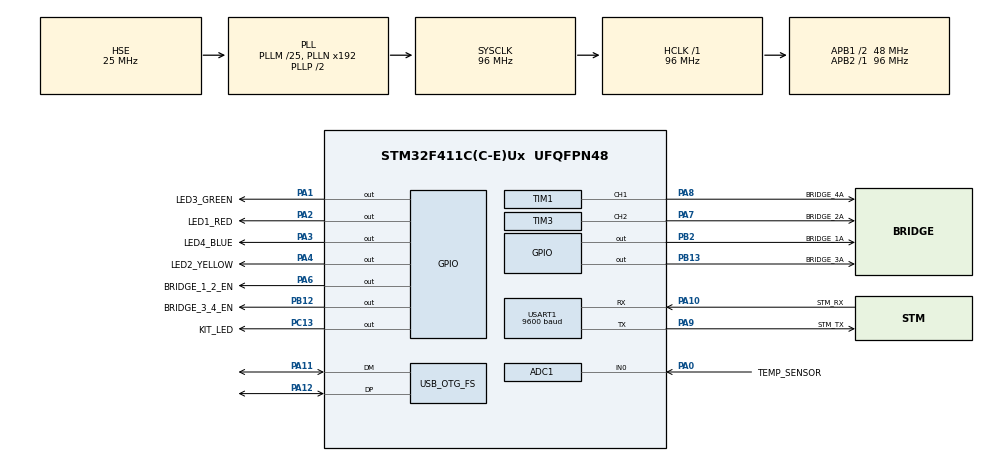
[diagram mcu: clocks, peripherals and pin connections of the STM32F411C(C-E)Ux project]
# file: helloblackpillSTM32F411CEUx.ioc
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ADC1.Channel-1\#ChannelRegularConversion=ADC_CHANNEL_0
ADC1.NbrOfConversionFlag=1
ADC1.Rank-1\#ChannelRegularConversion=1
ADC1.SamplingTime-1\#ChannelRegularConversion=ADC_SAMPLETIME_3CYCLES
ADC1.master=1
Dma.Request0=USART1_RX
Dma.Request1=USART1_TX
Dma.USART1_RX.0.Direction=DMA_PERIPH_TO_MEMORY
Dma.USART1_RX.0.FIFOMode=DMA_FIFOMODE_DISABLE
Dma.USART1_RX.0.Instance=DMA2_Stream2
Dma.USART1_RX.0.MemDataAlignment=DMA_MDATAALIGN_BYTE
Dma.USART1_RX.0.MemInc=DMA_MINC_ENABLE
Dma.USART1_RX.0.Mode=DMA_NORMAL
Dma.USART1_RX.0.PeriphDataAlignment=DMA_PDATAALIGN_BYTE
Dma.USART1_RX.0.PeriphInc=DMA_PINC_DISABLE
Dma.USART1_RX.0.Priority=DMA_PRIORITY_LOW
Dma.USART1_TX.1.Direction=DMA_MEMORY_TO_PERIPH
Dma.USART1_TX.1.FIFOMode=DMA_FIFOMODE_DISABLE
Dma.USART1_TX.1.Instance=DMA2_Stream7
Dma.USART1_TX.1.MemDataAlignment=DMA_MDATAALIGN_BYTE
Dma.USART1_TX.1.MemInc=DMA_MINC_ENABLE
Dma.USART1_TX.1.Mode=DMA_NORMAL
Dma.USART1_TX.1.PeriphDataAlignment=DMA_PDATAALIGN_BYTE
Dma.USART1_TX.1.PeriphInc=DMA_PINC_DISABLE
Dma.USART1_TX.1.Priority=DMA_PRIORITY_LOW
FREERTOS.BinarySemaphores01=ATCommandSemaphore,Static,ATCommandSemaphoreControlBlock;ATResponseSemaphore,Static,ATResponseSemaphoreControlBlock;UARTTXSemaphore,Static,UARTTXSemaphoreControlBlock;RadioStateSemaphore,Static,RadioStateSemaphoreControlBlock;LoRaTXSemaphore,Static,LoRaTXSemaphoreControlBlock
FREERTOS.Events01=ModemStatusFlags,Static,ModemStatusFlagsControlBlock
FREERTOS.Queues01=uartQueue,4,void*,0,Static,uartQueueBuffer,uartQueueControlBlock;ATQueue,4,void*,0,Static,ATQueueBuffer,ATQueueControlBlock;ModemSendQueue,4,void*,0,Static,ModemSendQueueBuffer,ModemSendQueueControlBlock
FREERTOS.Tasks01=defaultTask,9,128,StartDefaultTask,Default,NULL,Static,defaultTaskBuffer,defaultTaskControlBlock;ATParsingTask,39,512,ATParsingTaskCode,As external,NULL,Static,ATParsingTaskBuffer,ATParsingTaskControlBlock;ATHandlingTask,38,512,ATHandlingTaskCode,As external,NULL,Static,ATHandlingTaskBuffer,ATHandlingTaskControlBlock;UARTProcTask,47,512,UARTProcTaskCode,As external,NULL,Static,UARTProcTaskBuffer,UARTProcTaskControlBlock;ModemMngrTask,31,512,ModemManagerTaskCode,As external,NULL,Static,ModemMngrTaskBuffer,ModemMngrTaskControlBlock;AppSendTask,15,512,AppSendTaskCode,As external,NULL,Static,SendTemperatureBuffer,SendTemperatureControlBlock;BlueLedTask,24,128,BlueLedTaskCode,As external,NULL,Static,BlueLedTaskBuffer,BlueLedTaskControlBlock;RedLedTask,9,128,RedLedTaskCode,As external,NULL,Static,RedLedTaskBuffer,RedLedTaskControlBlock;YellowLedTask,37,128,YellowLedTaskCode,As external,NULL,Static,YellowLedTaskBuffer,YellowLedTaskControlBlock;GreenLedTask,24,128,GreenLedTaskCode,As external,NULL,Static,GreenLedTaskBuffer,GreenLedTaskControlBlock
FREERTOS.Timers01=PeriodicSendTimer,PeriodicSendTimerCallback,osTimerPeriodic,As external,NULL,Static,PeriodicSendTimerControlBlock;ModemLedTimer,ModemLedCallback,osTimerPeriodic,As external,NULL,Static,ModemLedTimerControlBlock;DutyCycleTimer,DutyCycleTimerCallback,osTimerOnce,As external,NULL,Static,DutyCycleTimerControlBlock
FREERTOS.configENABLE_FPU=1
FREERTOS.configTOTAL_HEAP_SIZE=2048
FREERTOS.configUSE_TICKLESS_IDLE=1
Mcu.Family=STM32F4
Mcu.Name=STM32F411C(C-E)Ux
Mcu.Package=UFQFPN48
NVIC.DMA2_Stream2_IRQn=true\:5\:0\:false\:false\:true\:true\:false\:true\:true
NVIC.DMA2_Stream7_IRQn=true\:5\:0\:false\:false\:true\:true\:false\:true\:true
NVIC.OTG_FS_IRQn=true\:5\:0\:false\:false\:true\:true\:false\:true\:true
NVIC.PriorityGroup=NVIC_PRIORITYGROUP_4
NVIC.TIM1_TRG_COM_TIM11_IRQn=true\:5\:0\:false\:false\:true\:false\:false\:true\:true
NVIC.TimeBase=TIM1_TRG_COM_TIM11_IRQn
NVIC.TimeBaseIP=TIM11
NVIC.USART1_IRQn=true\:5\:0\:false\:false\:true\:true\:true\:true\:true
PA0-WKUP.GPIO_Label=TEMP_SENSOR
PA0-WKUP.Signal=ADCx_IN0
PA1.GPIO_Label=LED3_GREEN
PA1.Signal=GPIO_Output
PA10.GPIO_Label=STM_RX
PA10.Mode=Asynchronous
PA10.Signal=USART1_RX
PA11.Mode=Device_Only
PA11.Signal=USB_OTG_FS_DM
PA12.Mode=Device_Only
PA12.Signal=USB_OTG_FS_DP
PA13.Mode=Serial_Wire
PA13.Signal=SYS_JTMS-SWDIO
PA14.Mode=Serial_Wire
PA14.Signal=SYS_JTCK-SWCLK
PA2.GPIO_Label=LED1_RED
PA2.Signal=GPIO_Output
PA3.GPIO_Label=LED4_BLUE
PA3.Signal=GPIO_Output
PA4.GPIO_Label=LED2_YELLOW
PA4.Signal=GPIO_Output
PA6.GPIO_Label=BRIDGE_1_2_EN
PA6.PinState=GPIO_PIN_SET
PA6.Signal=GPIO_Output
PA7.GPIO_Label=BRIDGE_2A
PA7.Signal=S_TIM3_CH2
PA8.GPIO_Label=BRIDGE_4A
PA8.Signal=S_TIM1_CH1
PA9.GPIO_Label=STM_TX
PA9.Mode=Asynchronous
PA9.Signal=USART1_TX
PB12.GPIO_Label=BRIDGE_3_4_EN
PB12.PinState=GPIO_PIN_SET
PB12.Signal=GPIO_Output
PB13.GPIO_Label=BRIDGE_3A
PB13.Signal=GPIO_Output
PB2.GPIO_Label=BRIDGE_1A
PB2.Signal=GPIO_Output
PC13-ANTI_TAMP.GPIO_Label=KIT_LED
PC13-ANTI_TAMP.Signal=GPIO_Output
PC14-OSC32_IN.Mode=LSE-External-Oscillator
PC14-OSC32_IN.Signal=RCC_OSC32_IN
PC15-OSC32_OUT.Mode=LSE-External-Oscillator
PC15-OSC32_OUT.Signal=RCC_OSC32_OUT
PH0\ -\ OSC_IN.Mode=HSE-External-Oscillator
PH0\ -\ OSC_IN.Signal=RCC_OSC_IN
PH1\ -\ OSC_OUT.Mode=HSE-External-Oscillator
PH1\ -\ OSC_OUT.Signal=RCC_OSC_OUT
ProjectManager.HeapSize=0x200
ProjectManager.StackSize=0x400
ProjectManager.TargetToolchain=Makefile
RCC.48MHZClocksFreq_Value=48000000
RCC.AHBFreq_Value=96000000
RCC.APB1CLKDivider=RCC_HCLK_DIV2
RCC.APB1Freq_Value=48000000
RCC.APB1TimFreq_Value=96000000
RCC.APB2Freq_Value=96000000
RCC.APB2TimFreq_Value=96000000
RCC.CortexFreq_Value=96000000
RCC.HCLKFreq_Value=96000000
RCC.HSE_VALUE=25000000
RCC.HSI_VALUE=16000000
RCC.PLLM=25
RCC.SYSCLKFreq_VALUE=96000000
RCC.SYSCLKSource=RCC_SYSCLKSOURCE_PLLCLK
RCC.VCOOutputFreq_Value=192000000
SH.ADCx_IN0.0=ADC1_IN0,IN0
SH.S_TIM1_CH1.0=TIM1_CH1,PWM Generation1 CH1
SH.S_TIM3_CH2.0=TIM3_CH2,PWM Generation2 CH2
TIM1.Channel-PWM\ Generation1\ CH1=TIM_CHANNEL_1
TIM1.Period=9600-1
TIM1.Pulse-PWM\ Generation1\ CH1=9600-1
TIM2.Prescaler=9600-1
TIM3.Channel-PWM\ Generation2\ CH2=TIM_CHANNEL_2
TIM3.Period=9600-1
TIM3.Pulse-PWM\ Generation2\ CH2=9600-1
USART1.BaudRate=9600
USART1.VirtualMode=VM_ASYNC
USB_DEVICE.CLASS_NAME_FS=CDC
USB_DEVICE.VirtualMode=Cdc
USB_DEVICE.VirtualModeFS=Cdc_FS
USB_OTG_FS.VirtualMode=Device_Only
VP_FREERTOS_VS_CMSIS_V2.Mode=CMSIS_V2
VP_SYS_VS_tim11.Mode=TIM11
VP_TIM1_VS_ClockSourceINT.Mode=Internal
VP_TIM2_VS_ClockSourceINT.Mode=Internal
VP_TIM3_VS_ClockSourceINT.Mode=Internal
VP_USB_DEVICE_VS_USB_DEVICE_CDC_FS.Mode=CDC_FS
board=custom

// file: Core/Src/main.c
/* USER CODE BEGIN Header */
/**
  ******************************************************************************
  * @file           : main.c
  * @brief          : Main program body
  ******************************************************************************
  * @attention
  *
  * Copyright (c) 2022 STMicroelectronics.
  * All rights reserved.
  *
  * This software is licensed under terms that can be found in the LICENSE file
  * in the root directory of this software component.
  * If no LICENSE file comes with this software, it is provided AS-IS.
  *
  ******************************************************************************
  */
/* USER CODE END Header */
#include "main.h"
#include "cmsis_os.h"
#include "usb_device.h"

/* USER CODE BEGIN Includes */
/* ------> COMENTÁRIO DE TESTE ROGER <------- */
/* USER CODE END Includes */

typedef StaticTask_t osStaticThreadDef_t;
typedef StaticQueue_t osStaticMessageQDef_t;
typedef StaticTimer_t osStaticTimerDef_t;
typedef StaticSemaphore_t osStaticSemaphoreDef_t;
typedef StaticEventGroup_t osStaticEventGroupDef_t;

ADC_HandleTypeDef hadc1;

TIM_HandleTypeDef htim1;
TIM_HandleTypeDef htim2;
TIM_HandleTypeDef htim3;

UART_HandleTypeDef huart1;
DMA_HandleTypeDef hdma_usart1_rx;
DMA_HandleTypeDef hdma_usart1_tx;

/* Definitions for defaultTask */
osThreadId_t defaultTaskHandle;
uint32_t defaultTaskBuffer[ 128 ];
osStaticThreadDef_t defaultTaskControlBlock;
const osThreadAttr_t defaultTask_attributes = {
  .name = "defaultTask",
  .cb_mem = &defaultTaskControlBlock,
  .cb_size = sizeof(defaultTaskControlBlock),
  .stack_mem = &defaultTaskBuffer[0],
  .stack_size = sizeof(defaultTaskBuffer),
  .priority = (osPriority_t) osPriorityLow1,
};
/* Definitions for ATParsingTask */
osThreadId_t ATParsingTaskHandle;
uint32_t ATParsingTaskBuffer[ 512 ];
osStaticThreadDef_t ATParsingTaskControlBlock;
const osThreadAttr_t ATParsingTask_attributes = {
  .name = "ATParsingTask",
  .cb_mem = &ATParsingTaskControlBlock,
  .cb_size = sizeof(ATParsingTaskControlBlock),
  .stack_mem = &ATParsingTaskBuffer[0],
  .stack_size = sizeof(ATParsingTaskBuffer),
  .priority = (osPriority_t) osPriorityAboveNormal7,
};
/* Definitions for ATHandlingTask */
osThreadId_t ATHandlingTaskHandle;
uint32_t ATHandlingTaskBuffer[ 512 ];
osStaticThreadDef_t ATHandlingTaskControlBlock;
const osThreadAttr_t ATHandlingTask_attributes = {
  .name = "ATHandlingTask",
  .cb_mem = &ATHandlingTaskControlBlock,
  .cb_size = sizeof(ATHandlingTaskControlBlock),
  .stack_mem = &ATHandlingTaskBuffer[0],
  .stack_size = sizeof(ATHandlingTaskBuffer),
  .priority = (osPriority_t) osPriorityAboveNormal6,
};
/* Definitions for UARTProcTask */
osThreadId_t UARTProcTaskHandle;
uint32_t UARTProcTaskBuffer[ 512 ];
osStaticThreadDef_t UARTProcTaskControlBlock;
const osThreadAttr_t UARTProcTask_attributes = {
  .name = "UARTProcTask",
  .cb_mem = &UARTProcTaskControlBlock,
  .cb_size = sizeof(UARTProcTaskControlBlock),
  .stack_mem = &UARTProcTaskBuffer[0],
  .stack_size = sizeof(UARTProcTaskBuffer),
  .priority = (osPriority_t) osPriorityHigh7,
};
/* Definitions for ModemMngrTask */
osThreadId_t ModemMngrTaskHandle;
uint32_t ModemMngrTaskBuffer[ 512 ];
osStaticThreadDef_t ModemMngrTaskControlBlock;
const osThreadAttr_t ModemMngrTask_attributes = {
  .name = "ModemMngrTask",
  .cb_mem = &ModemMngrTaskControlBlock,
  .cb_size = sizeof(ModemMngrTaskControlBlock),
  .stack_mem = &ModemMngrTaskBuffer[0],
  .stack_size = sizeof(ModemMngrTaskBuffer),
  .priority = (osPriority_t) osPriorityNormal7,
};
/* Definitions for AppSendTask */
osThreadId_t AppSendTaskHandle;
uint32_t SendTemperatureBuffer[ 512 ];
osStaticThreadDef_t SendTemperatureControlBlock;
const osThreadAttr_t AppSendTask_attributes = {
  .name = "AppSendTask",
  .cb_mem = &SendTemperatureControlBlock,
  .cb_size = sizeof(SendTemperatureControlBlock),
  .stack_mem = &SendTemperatureBuffer[0],
  .stack_size = sizeof(SendTemperatureBuffer),
  .priority = (osPriority_t) osPriorityLow7,
};
/* Definitions for BlueLedTask */
osThreadId_t BlueLedTaskHandle;
uint32_t BlueLedTaskBuffer[ 128 ];
osStaticThreadDef_t BlueLedTaskControlBlock;
const osThreadAttr_t BlueLedTask_attributes = {
  .name = "BlueLedTask",
  .cb_mem = &BlueLedTaskControlBlock,
  .cb_size = sizeof(BlueLedTaskControlBlock),
  .stack_mem = &BlueLedTaskBuffer[0],
  .stack_size = sizeof(BlueLedTaskBuffer),
  .priority = (osPriority_t) osPriorityNormal,
};
/* Definitions for RedLedTask */
osThreadId_t RedLedTaskHandle;
uint32_t RedLedTaskBuffer[ 128 ];
osStaticThreadDef_t RedLedTaskControlBlock;
const osThreadAttr_t RedLedTask_attributes = {
  .name = "RedLedTask",
  .cb_mem = &RedLedTaskControlBlock,
  .cb_size = sizeof(RedLedTaskControlBlock),
  .stack_mem = &RedLedTaskBuffer[0],
  .stack_size = sizeof(RedLedTaskBuffer),
  .priority = (osPriority_t) osPriorityLow1,
};
/* Definitions for YellowLedTask */
osThreadId_t YellowLedTaskHandle;
uint32_t YellowLedTaskBuffer[ 128 ];
osStaticThreadDef_t YellowLedTaskControlBlock;
const osThreadAttr_t YellowLedTask_attributes = {
  .name = "YellowLedTask",
  .cb_mem = &YellowLedTaskControlBlock,
  .cb_size = sizeof(YellowLedTaskControlBlock),
  .stack_mem = &YellowLedTaskBuffer[0],
  .stack_size = sizeof(YellowLedTaskBuffer),
  .priority = (osPriority_t) osPriorityAboveNormal5,
};
/* Definitions for GreenLedTask */
osThreadId_t GreenLedTaskHandle;
uint32_t GreenLedTaskBuffer[ 128 ];
osStaticThreadDef_t GreenLedTaskControlBlock;
const osThreadAttr_t GreenLedTask_attributes = {
  .name = "GreenLedTask",
  .cb_mem = &GreenLedTaskControlBlock,
  .cb_size = sizeof(GreenLedTaskControlBlock),
  .stack_mem = &GreenLedTaskBuffer[0],
  .stack_size = sizeof(GreenLedTaskBuffer),
  .priority = (osPriority_t) osPriorityNormal,
};
/* Definitions for uartQueue */
osMessageQueueId_t uartQueueHandle;
uint8_t uartQueueBuffer[ 4 * sizeof( void* ) ];
osStaticMessageQDef_t uartQueueControlBlock;
const osMessageQueueAttr_t uartQueue_attributes = {
  .name = "uartQueue",
  .cb_mem = &uartQueueControlBlock,
  .cb_size = sizeof(uartQueueControlBlock),
  .mq_mem = &uartQueueBuffer,
  .mq_size = sizeof(uartQueueBuffer)
};
/* Definitions for ATQueue */
osMessageQueueId_t ATQueueHandle;
uint8_t ATQueueBuffer[ 4 * sizeof( void* ) ];
osStaticMessageQDef_t ATQueueControlBlock;
const osMessageQueueAttr_t ATQueue_attributes = {
  .name = "ATQueue",
  .cb_mem = &ATQueueControlBlock,
  .cb_size = sizeof(ATQueueControlBlock),
  .mq_mem = &ATQueueBuffer,
  .mq_size = sizeof(ATQueueBuffer)
};
/* Definitions for ModemSendQueue */
osMessageQueueId_t ModemSendQueueHandle;
uint8_t ModemSendQueueBuffer[ 4 * sizeof( void* ) ];
osStaticMessageQDef_t ModemSendQueueControlBlock;
const osMessageQueueAttr_t ModemSendQueue_attributes = {
  .name = "ModemSendQueue",
  .cb_mem = &ModemSendQueueControlBlock,
  .cb_size = sizeof(ModemSendQueueControlBlock),
  .mq_mem = &ModemSendQueueBuffer,
  .mq_size = sizeof(ModemSendQueueBuffer)
};
/* Definitions for PeriodicSendTimer */
osTimerId_t PeriodicSendTimerHandle;
osStaticTimerDef_t PeriodicSendTimerControlBlock;
const osTimerAttr_t PeriodicSendTimer_attributes = {
  .name = "PeriodicSendTimer",
  .cb_mem = &PeriodicSendTimerControlBlock,
  .cb_size = sizeof(PeriodicSendTimerControlBlock),
};
/* Definitions for ModemLedTimer */
osTimerId_t ModemLedTimerHandle;
osStaticTimerDef_t ModemLedTimerControlBlock;
const osTimerAttr_t ModemLedTimer_attributes = {
  .name = "ModemLedTimer",
  .cb_mem = &ModemLedTimerControlBlock,
  .cb_size = sizeof(ModemLedTimerControlBlock),
};
/* Definitions for DutyCycleTimer */
osTimerId_t DutyCycleTimerHandle;
osStaticTimerDef_t DutyCycleTimerControlBlock;
const osTimerAttr_t DutyCycleTimer_attributes = {
  .name = "DutyCycleTimer",
  .cb_mem = &DutyCycleTimerControlBlock,
  .cb_size = sizeof(DutyCycleTimerControlBlock),
};
/* Definitions for ATCommandSemaphore */
osSemaphoreId_t ATCommandSemaphoreHandle;
osStaticSemaphoreDef_t ATCommandSemaphoreControlBlock;
const osSemaphoreAttr_t ATCommandSemaphore_attributes = {
  .name = "ATCommandSemaphore",
  .cb_mem = &ATCommandSemaphoreControlBlock,
  .cb_size = sizeof(ATCommandSemaphoreControlBlock),
};
/* Definitions for ATResponseSemaphore */
osSemaphoreId_t ATResponseSemaphoreHandle;
osStaticSemaphoreDef_t ATResponseSemaphoreControlBlock;
const osSemaphoreAttr_t ATResponseSemaphore_attributes = {
  .name = "ATResponseSemaphore",
  .cb_mem = &ATResponseSemaphoreControlBlock,
  .cb_size = sizeof(ATResponseSemaphoreControlBlock),
};
/* Definitions for UARTTXSemaphore */
osSemaphoreId_t UARTTXSemaphoreHandle;
osStaticSemaphoreDef_t UARTTXSemaphoreControlBlock;
const osSemaphoreAttr_t UARTTXSemaphore_attributes = {
  .name = "UARTTXSemaphore",
  .cb_mem = &UARTTXSemaphoreControlBlock,
  .cb_size = sizeof(UARTTXSemaphoreControlBlock),
};
/* Definitions for RadioStateSemaphore */
osSemaphoreId_t RadioStateSemaphoreHandle;
osStaticSemaphoreDef_t RadioStateSemaphoreControlBlock;
const osSemaphoreAttr_t RadioStateSemaphore_attributes = {
  .name = "RadioStateSemaphore",
  .cb_mem = &RadioStateSemaphoreControlBlock,
  .cb_size = sizeof(RadioStateSemaphoreControlBlock),
};
/* Definitions for LoRaTXSemaphore */
osSemaphoreId_t LoRaTXSemaphoreHandle;
osStaticSemaphoreDef_t LoRaTXSemaphoreControlBlock;
const osSemaphoreAttr_t LoRaTXSemaphore_attributes = {
  .name = "LoRaTXSemaphore",
  .cb_mem = &LoRaTXSemaphoreControlBlock,
  .cb_size = sizeof(LoRaTXSemaphoreControlBlock),
};
/* Definitions for ModemStatusFlags */
osEventFlagsId_t ModemStatusFlagsHandle;
osStaticEventGroupDef_t ModemStatusFlagsControlBlock;
const osEventFlagsAttr_t ModemStatusFlags_attributes = {
  .name = "ModemStatusFlags",
  .cb_mem = &ModemStatusFlagsControlBlock,
  .cb_size = sizeof(ModemStatusFlagsControlBlock),
};
/* USER CODE BEGIN PV */
volatile float vector[255];
extern UART_HandleTypeDef huart1;
extern DMA_HandleTypeDef hdma_usart1_rx;
extern DMA_HandleTypeDef hdma_usart1_tx;
/* USER CODE END PV */

void SystemClock_Config(void);
static void MX_GPIO_Init(void);
static void MX_DMA_Init(void);
static void MX_USART1_UART_Init(void);
static void MX_ADC1_Init(void);
static void MX_TIM2_Init(void);
static void MX_TIM1_Init(void);
static void MX_TIM3_Init(void);
void StartDefaultTask(void *argument);
extern void ATParsingTaskCode(void *argument);
extern void ATHandlingTaskCode(void *argument);
extern void UARTProcTaskCode(void *argument);
extern void ModemManagerTaskCode(void *argument);
extern void AppSendTaskCode(void *argument);
extern void BlueLedTaskCode(void *argument);
extern void RedLedTaskCode(void *argument);
extern void YellowLedTaskCode(void *argument);
extern void GreenLedTaskCode(void *argument);
extern void PeriodicSendTimerCallback(void *argument);
extern void ModemLedCallback(void *argument);
extern void DutyCycleTimerCallback(void *argument);

/* USER CODE BEGIN PFP */
void CONFIGURE_TIMER_FOR_RUN_TIME_STATS()
{
  HAL_TIM_Base_Start(&htim2); /* Define this to initialize your timer/counter */
}

uint32_t GET_RUN_TIME_COUNTER_VALUE()
{
  return __HAL_TIM_GET_COUNTER(&htim2); /* Define this to sample the timer/counter */
}

/* USER CODE END PFP */

/* USER CODE BEGIN 0 */
const volatile int uxTopUsedPriority = configMAX_PRIORITIES - 1; //this declaration enables thread awareness for FreeRTOS using OpenOCD

// Paste this code to Core/Inc/FreeRTOSConfig.h to enable kernel statistics (will be overwritten by STMCubeMX everytime code is generated)
// #define portCONFIGURE_TIMER_FOR_RUN_TIME_STATS() CONFIGURE_TIMER_FOR_RUN_TIME_STATS()/* Define this to initialize your timer/counter */
// #define portGET_RUN_TIME_COUNTER_VALUE() GET_RUN_TIME_COUNTER_VALUE()        /* Define this to sample the timer/counter */
// #define configGENERATE_RUN_TIME_STATS (1)
// #define configRECORD_STACK_HIGH_ADDRESS (1)

/* USER CODE END 0 */

int main(void)
{
  /* USER CODE BEGIN 1 */
  uint32_t i;
  (void)uxTopUsedPriority; //this declaration enables thread awareness for FreeRTOS using OpenOCD
  /* USER CODE END 1 */

  /* MCU Configuration--------------------------------------------------------*/

  /* Reset of all peripherals, Initializes the Flash interface and the Systick. */
  HAL_Init();

  /* Configure the system clock */
  SystemClock_Config();

  /* Initialize all configured peripherals */
  MX_GPIO_Init();
  MX_DMA_Init();
  MX_USART1_UART_Init();
  MX_ADC1_Init();
  MX_TIM2_Init();
  MX_TIM1_Init();
  MX_TIM3_Init();
  /* USER CODE BEGIN 2 */

  //H-Bridge PWMs
  HAL_TIM_PWM_Start(&htim1, TIM_CHANNEL_1);
  HAL_TIM_PWM_Start(&htim3, TIM_CHANNEL_2);
  /* USER CODE END 2 */

  /* Init scheduler */
  osKernelInitialize();

  /* Create the semaphores(s) */
  /* creation of ATCommandSemaphore */
  ATCommandSemaphoreHandle = osSemaphoreNew(1, 0, &ATCommandSemaphore_attributes);

  /* creation of ATResponseSemaphore */
  ATResponseSemaphoreHandle = osSemaphoreNew(1, 0, &ATResponseSemaphore_attributes);

  /* creation of UARTTXSemaphore */
  UARTTXSemaphoreHandle = osSemaphoreNew(1, 0, &UARTTXSemaphore_attributes);

  /* creation of RadioStateSemaphore */
  RadioStateSemaphoreHandle = osSemaphoreNew(1, 0, &RadioStateSemaphore_attributes);

  /* creation of LoRaTXSemaphore */
  LoRaTXSemaphoreHandle = osSemaphoreNew(1, 0, &LoRaTXSemaphore_attributes);

  /* Create the timer(s) */
  /* creation of PeriodicSendTimer */
  PeriodicSendTimerHandle = osTimerNew(PeriodicSendTimerCallback, osTimerPeriodic, NULL, &PeriodicSendTimer_attributes);

  /* creation of ModemLedTimer */
  ModemLedTimerHandle = osTimerNew(ModemLedCallback, osTimerPeriodic, NULL, &ModemLedTimer_attributes);

  /* creation of DutyCycleTimer */
  DutyCycleTimerHandle = osTimerNew(DutyCycleTimerCallback, osTimerOnce, NULL, &DutyCycleTimer_attributes);

  /* Create the queue(s) */
  /* creation of uartQueue */
  uartQueueHandle = osMessageQueueNew (4, sizeof(void*), &uartQueue_attributes);

  /* creation of ATQueue */
  ATQueueHandle = osMessageQueueNew (4, sizeof(void*), &ATQueue_attributes);

  /* creation of ModemSendQueue */
  ModemSendQueueHandle = osMessageQueueNew (4, sizeof(void*), &ModemSendQueue_attributes);

  /* Create the thread(s) */
  /* creation of defaultTask */
  defaultTaskHandle = osThreadNew(StartDefaultTask, NULL, &defaultTask_attributes);

  /* creation of ATParsingTask */
  ATParsingTaskHandle = osThreadNew(ATParsingTaskCode, NULL, &ATParsingTask_attributes);

  /* creation of ATHandlingTask */
  ATHandlingTaskHandle = osThreadNew(ATHandlingTaskCode, NULL, &ATHandlingTask_attributes);

  /* creation of UARTProcTask */
  UARTProcTaskHandle = osThreadNew(UARTProcTaskCode, NULL, &UARTProcTask_attributes);

  /* creation of ModemMngrTask */
  ModemMngrTaskHandle = osThreadNew(ModemManagerTaskCode, NULL, &ModemMngrTask_attributes);

  /* creation of AppSendTask */
  AppSendTaskHandle = osThreadNew(AppSendTaskCode, NULL, &AppSendTask_attributes);

  /* creation of BlueLedTask */
  BlueLedTaskHandle = osThreadNew(BlueLedTaskCode, NULL, &BlueLedTask_attributes);

  /* creation of RedLedTask */
  RedLedTaskHandle = osThreadNew(RedLedTaskCode, NULL, &RedLedTask_attributes);

  /* creation of YellowLedTask */
  YellowLedTaskHandle = osThreadNew(YellowLedTaskCode, NULL, &YellowLedTask_attributes);

  /* creation of GreenLedTask */
  GreenLedTaskHandle = osThreadNew(GreenLedTaskCode, NULL, &GreenLedTask_attributes);

  /* Create the event(s) */
  /* creation of ModemStatusFlags */
  ModemStatusFlagsHandle = osEventFlagsNew(&ModemStatusFlags_attributes);

  /* Start scheduler */
  osKernelStart();

  /* We should never get here as control is now taken by the scheduler */
  /* Infinite loop */
  /* USER CODE BEGIN WHILE */
  while (1)
  {
    for (i = 0; i < 8; i++)
    {
      HAL_GPIO_WritePin(GPIOC, GPIO_PIN_13, 0);
      HAL_Delay(25);
      HAL_GPIO_WritePin(GPIOC, GPIO_PIN_13, 1);
      HAL_Delay(50);
    }
    HAL_Delay(800);

    /* USER CODE END WHILE */

  }
}

void SystemClock_Config(void)
{
  RCC_OscInitTypeDef RCC_OscInitStruct = {0};
  RCC_ClkInitTypeDef RCC_ClkInitStruct = {0};

  /** Configure the main internal regulator output voltage
  */
  __HAL_RCC_PWR_CLK_ENABLE();
  __HAL_PWR_VOLTAGESCALING_CONFIG(PWR_REGULATOR_VOLTAGE_SCALE1);

  /** Initializes the RCC Oscillators according to the specified parameters
  * in the RCC_OscInitTypeDef structure.
  */
  RCC_OscInitStruct.OscillatorType = RCC_OSCILLATORTYPE_HSE;
  RCC_OscInitStruct.HSEState = RCC_HSE_ON;
  RCC_OscInitStruct.PLL.PLLState = RCC_PLL_ON;
  RCC_OscInitStruct.PLL.PLLSource = RCC_PLLSOURCE_HSE;
  RCC_OscInitStruct.PLL.PLLM = 25;
  RCC_OscInitStruct.PLL.PLLN = 192;
  RCC_OscInitStruct.PLL.PLLP = RCC_PLLP_DIV2;
  RCC_OscInitStruct.PLL.PLLQ = 4;
  if (HAL_RCC_OscConfig(&RCC_OscInitStruct) != HAL_OK)
  {
    Error_Handler();
  }

  /** Initializes the CPU, AHB and APB buses clocks
  */
  RCC_ClkInitStruct.ClockType = RCC_CLOCKTYPE_HCLK|RCC_CLOCKTYPE_SYSCLK
                              |RCC_CLOCKTYPE_PCLK1|RCC_CLOCKTYPE_PCLK2;
  RCC_ClkInitStruct.SYSCLKSource = RCC_SYSCLKSOURCE_PLLCLK;
  RCC_ClkInitStruct.AHBCLKDivider = RCC_SYSCLK_DIV1;
  RCC_ClkInitStruct.APB1CLKDivider = RCC_HCLK_DIV2;
  RCC_ClkInitStruct.APB2CLKDivider = RCC_HCLK_DIV1;

  if (HAL_RCC_ClockConfig(&RCC_ClkInitStruct, FLASH_LATENCY_3) != HAL_OK)
  {
    Error_Handler();
  }
}

static void MX_ADC1_Init(void)
{

  ADC_ChannelConfTypeDef sConfig = {0};

  /** Configure the global features of the ADC (Clock, Resolution, Data Alignment and number of conversion)
  */
  hadc1.Instance = ADC1;
  hadc1.Init.ClockPrescaler = ADC_CLOCK_SYNC_PCLK_DIV4;
  hadc1.Init.Resolution = ADC_RESOLUTION_12B;
  hadc1.Init.ScanConvMode = DISABLE;
  hadc1.Init.ContinuousConvMode = DISABLE;
  hadc1.Init.DiscontinuousConvMode = DISABLE;
  hadc1.Init.ExternalTrigConvEdge = ADC_EXTERNALTRIGCONVEDGE_NONE;
  hadc1.Init.ExternalTrigConv = ADC_SOFTWARE_START;
  hadc1.Init.DataAlign = ADC_DATAALIGN_RIGHT;
  hadc1.Init.NbrOfConversion = 1;
  hadc1.Init.DMAContinuousRequests = DISABLE;
  hadc1.Init.EOCSelection = ADC_EOC_SINGLE_CONV;
  if (HAL_ADC_Init(&hadc1) != HAL_OK)
  {
    Error_Handler();
  }

  /** Configure for the selected ADC regular channel its corresponding rank in the sequencer and its sample time.
  */
  sConfig.Channel = ADC_CHANNEL_0;
  sConfig.Rank = 1;
  sConfig.SamplingTime = ADC_SAMPLETIME_3CYCLES;
  if (HAL_ADC_ConfigChannel(&hadc1, &sConfig) != HAL_OK)
  {
    Error_Handler();
  }

}

static void MX_TIM1_Init(void)
{

  TIM_ClockConfigTypeDef sClockSourceConfig = {0};
  TIM_MasterConfigTypeDef sMasterConfig = {0};
  TIM_OC_InitTypeDef sConfigOC = {0};
  TIM_BreakDeadTimeConfigTypeDef sBreakDeadTimeConfig = {0};

  htim1.Instance = TIM1;
  htim1.Init.Prescaler = 0;
  htim1.Init.CounterMode = TIM_COUNTERMODE_UP;
  htim1.Init.Period = 9600-1;
  htim1.Init.ClockDivision = TIM_CLOCKDIVISION_DIV1;
  htim1.Init.RepetitionCounter = 0;
  htim1.Init.AutoReloadPreload = TIM_AUTORELOAD_PRELOAD_DISABLE;
  if (HAL_TIM_Base_Init(&htim1) != HAL_OK)
  {
    Error_Handler();
  }
  sClockSourceConfig.ClockSource = TIM_CLOCKSOURCE_INTERNAL;
  if (HAL_TIM_ConfigClockSource(&htim1, &sClockSourceConfig) != HAL_OK)
  {
    Error_Handler();
  }
  if (HAL_TIM_PWM_Init(&htim1) != HAL_OK)
  {
    Error_Handler();
  }
  sMasterConfig.MasterOutputTrigger = TIM_TRGO_RESET;
  sMasterConfig.MasterSlaveMode = TIM_MASTERSLAVEMODE_DISABLE;
  if (HAL_TIMEx_MasterConfigSynchronization(&htim1, &sMasterConfig) != HAL_OK)
  {
    Error_Handler();
  }
  sConfigOC.OCMode = TIM_OCMODE_PWM1;
  sConfigOC.Pulse = 9600-1;
  sConfigOC.OCPolarity = TIM_OCPOLARITY_HIGH;
  sConfigOC.OCNPolarity = TIM_OCNPOLARITY_HIGH;
  sConfigOC.OCFastMode = TIM_OCFAST_DISABLE;
  sConfigOC.OCIdleState = TIM_OCIDLESTATE_RESET;
  sConfigOC.OCNIdleState = TIM_OCNIDLESTATE_RESET;
  if (HAL_TIM_PWM_ConfigChannel(&htim1, &sConfigOC, TIM_CHANNEL_1) != HAL_OK)
  {
    Error_Handler();
  }
  sBreakDeadTimeConfig.OffStateRunMode = TIM_OSSR_DISABLE;
  sBreakDeadTimeConfig.OffStateIDLEMode = TIM_OSSI_DISABLE;
  sBreakDeadTimeConfig.LockLevel = TIM_LOCKLEVEL_OFF;
  sBreakDeadTimeConfig.DeadTime = 0;
  sBreakDeadTimeConfig.BreakState = TIM_BREAK_DISABLE;
  sBreakDeadTimeConfig.BreakPolarity = TIM_BREAKPOLARITY_HIGH;
  sBreakDeadTimeConfig.AutomaticOutput = TIM_AUTOMATICOUTPUT_DISABLE;
  if (HAL_TIMEx_ConfigBreakDeadTime(&htim1, &sBreakDeadTimeConfig) != HAL_OK)
  {
    Error_Handler();
  }
  HAL_TIM_MspPostInit(&htim1);

}

static void MX_TIM2_Init(void)
{

  TIM_ClockConfigTypeDef sClockSourceConfig = {0};
  TIM_MasterConfigTypeDef sMasterConfig = {0};

  htim2.Instance = TIM2;
  htim2.Init.Prescaler = 9600-1;
  htim2.Init.CounterMode = TIM_COUNTERMODE_UP;
  htim2.Init.Period = 4294967295;
  htim2.Init.ClockDivision = TIM_CLOCKDIVISION_DIV1;
  htim2.Init.AutoReloadPreload = TIM_AUTORELOAD_PRELOAD_DISABLE;
  if (HAL_TIM_Base_Init(&htim2) != HAL_OK)
  {
    Error_Handler();
  }
  sClockSourceConfig.ClockSource = TIM_CLOCKSOURCE_INTERNAL;
  if (HAL_TIM_ConfigClockSource(&htim2, &sClockSourceConfig) != HAL_OK)
  {
    Error_Handler();
  }
  sMasterConfig.MasterOutputTrigger = TIM_TRGO_RESET;
  sMasterConfig.MasterSlaveMode = TIM_MASTERSLAVEMODE_DISABLE;
  if (HAL_TIMEx_MasterConfigSynchronization(&htim2, &sMasterConfig) != HAL_OK)
  {
    Error_Handler();
  }

}

static void MX_TIM3_Init(void)
{

  TIM_ClockConfigTypeDef sClockSourceConfig = {0};
  TIM_MasterConfigTypeDef sMasterConfig = {0};
  TIM_OC_InitTypeDef sConfigOC = {0};

  htim3.Instance = TIM3;
  htim3.Init.Prescaler = 0;
  htim3.Init.CounterMode = TIM_COUNTERMODE_UP;
  htim3.Init.Period = 9600-1;
  htim3.Init.ClockDivision = TIM_CLOCKDIVISION_DIV1;
  htim3.Init.AutoReloadPreload = TIM_AUTORELOAD_PRELOAD_DISABLE;
  if (HAL_TIM_Base_Init(&htim3) != HAL_OK)
  {
    Error_Handler();
  }
  sClockSourceConfig.ClockSource = TIM_CLOCKSOURCE_INTERNAL;
  if (HAL_TIM_ConfigClockSource(&htim3, &sClockSourceConfig) != HAL_OK)
  {
    Error_Handler();
  }
  if (HAL_TIM_PWM_Init(&htim3) != HAL_OK)
  {
    Error_Handler();
  }
  sMasterConfig.MasterOutputTrigger = TIM_TRGO_RESET;
  sMasterConfig.MasterSlaveMode = TIM_MASTERSLAVEMODE_DISABLE;
  if (HAL_TIMEx_MasterConfigSynchronization(&htim3, &sMasterConfig) != HAL_OK)
  {
    Error_Handler();
  }
  sConfigOC.OCMode = TIM_OCMODE_PWM1;
  sConfigOC.Pulse = 9600-1;
  sConfigOC.OCPolarity = TIM_OCPOLARITY_HIGH;
  sConfigOC.OCFastMode = TIM_OCFAST_DISABLE;
  if (HAL_TIM_PWM_ConfigChannel(&htim3, &sConfigOC, TIM_CHANNEL_2) != HAL_OK)
  {
    Error_Handler();
  }
  HAL_TIM_MspPostInit(&htim3);

}

static void MX_USART1_UART_Init(void)
{

  huart1.Instance = USART1;
  huart1.Init.BaudRate = 9600;
  huart1.Init.WordLength = UART_WORDLENGTH_8B;
  huart1.Init.StopBits = UART_STOPBITS_1;
  huart1.Init.Parity = UART_PARITY_NONE;
  huart1.Init.Mode = UART_MODE_TX_RX;
  huart1.Init.HwFlowCtl = UART_HWCONTROL_NONE;
  huart1.Init.OverSampling = UART_OVERSAMPLING_16;
  if (HAL_UART_Init(&huart1) != HAL_OK)
  {
    Error_Handler();
  }

}

static void MX_DMA_Init(void)
{

  /* DMA controller clock enable */
  __HAL_RCC_DMA2_CLK_ENABLE();

  /* DMA interrupt init */
  /* DMA2_Stream2_IRQn interrupt configuration */
  HAL_NVIC_SetPriority(DMA2_Stream2_IRQn, 5, 0);
  HAL_NVIC_EnableIRQ(DMA2_Stream2_IRQn);
  /* DMA2_Stream7_IRQn interrupt configuration */
  HAL_NVIC_SetPriority(DMA2_Stream7_IRQn, 5, 0);
  HAL_NVIC_EnableIRQ(DMA2_Stream7_IRQn);

}

static void MX_GPIO_Init(void)
{
  GPIO_InitTypeDef GPIO_InitStruct = {0};

  /* GPIO Ports Clock Enable */
  __HAL_RCC_GPIOC_CLK_ENABLE();
  __HAL_RCC_GPIOH_CLK_ENABLE();
  __HAL_RCC_GPIOA_CLK_ENABLE();
  __HAL_RCC_GPIOB_CLK_ENABLE();

  /*Configure GPIO pin Output Level */
  HAL_GPIO_WritePin(KIT_LED_GPIO_Port, KIT_LED_Pin, GPIO_PIN_RESET);

  /*Configure GPIO pin Output Level */
  HAL_GPIO_WritePin(GPIOA, LED3_GREEN_Pin|LED1_RED_Pin|LED4_BLUE_Pin|LED2_YELLOW_Pin, GPIO_PIN_RESET);

  /*Configure GPIO pin Output Level */
  HAL_GPIO_WritePin(BRIDGE_1_2_EN_GPIO_Port, BRIDGE_1_2_EN_Pin, GPIO_PIN_SET);

  /*Configure GPIO pin Output Level */
  HAL_GPIO_WritePin(GPIOB, BRIDGE_1A_Pin|BRIDGE_3A_Pin, GPIO_PIN_RESET);

  /*Configure GPIO pin Output Level */
  HAL_GPIO_WritePin(BRIDGE_3_4_EN_GPIO_Port, BRIDGE_3_4_EN_Pin, GPIO_PIN_SET);

  /*Configure GPIO pin : KIT_LED_Pin */
  GPIO_InitStruct.Pin = KIT_LED_Pin;
  GPIO_InitStruct.Mode = GPIO_MODE_OUTPUT_PP;
  GPIO_InitStruct.Pull = GPIO_NOPULL;
  GPIO_InitStruct.Speed = GPIO_SPEED_FREQ_LOW;
  HAL_GPIO_Init(KIT_LED_GPIO_Port, &GPIO_InitStruct);

  /*Configure GPIO pins : LED3_GREEN_Pin LED1_RED_Pin LED4_BLUE_Pin LED2_YELLOW_Pin
                           BRIDGE_1_2_EN_Pin */
  GPIO_InitStruct.Pin = LED3_GREEN_Pin|LED1_RED_Pin|LED4_BLUE_Pin|LED2_YELLOW_Pin
                          |BRIDGE_1_2_EN_Pin;
  GPIO_InitStruct.Mode = GPIO_MODE_OUTPUT_PP;
  GPIO_InitStruct.Pull = GPIO_NOPULL;
  GPIO_InitStruct.Speed = GPIO_SPEED_FREQ_LOW;
  HAL_GPIO_Init(GPIOA, &GPIO_InitStruct);

  /*Configure GPIO pins : BRIDGE_1A_Pin BRIDGE_3_4_EN_Pin BRIDGE_3A_Pin */
  GPIO_InitStruct.Pin = BRIDGE_1A_Pin|BRIDGE_3_4_EN_Pin|BRIDGE_3A_Pin;
  GPIO_InitStruct.Mode = GPIO_MODE_OUTPUT_PP;
  GPIO_InitStruct.Pull = GPIO_NOPULL;
  GPIO_InitStruct.Speed = GPIO_SPEED_FREQ_LOW;
  HAL_GPIO_Init(GPIOB, &GPIO_InitStruct);

}

void StartDefaultTask(void *argument)
{
  /* init code for USB_DEVICE */
  MX_USB_DEVICE_Init();
  for(;;)
  {
    osDelay(1);
  }
}

void HAL_TIM_PeriodElapsedCallback(TIM_HandleTypeDef *htim)
{
  if (htim->Instance == TIM11) {
    HAL_IncTick();
  }
}

void Error_Handler(void)
{
  __disable_irq();
  while (1)
  {
  }
}

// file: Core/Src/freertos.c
/* USER CODE BEGIN Header */
/**
  ******************************************************************************
  * File Name          : freertos.c
  * Description        : Code for freertos applications
  ******************************************************************************
  * @attention
  *
  * Copyright (c) 2022 STMicroelectronics.
  * All rights reserved.
  *
  * This software is licensed under terms that can be found in the LICENSE file
  * in the root directory of this software component.
  * If no LICENSE file comes with this software, it is provided AS-IS.
  *
  ******************************************************************************
  */
/* USER CODE END Header */

#include "FreeRTOS.h"
#include "task.h"
#include "main.h"

/* USER CODE BEGIN PREPOSTSLEEP */
__weak void PreSleepProcessing(uint32_t ulExpectedIdleTime)
{
/* place for user code */
}

__weak void PostSleepProcessing(uint32_t ulExpectedIdleTime)
{
/* place for user code */
}
/* USER CODE END PREPOSTSLEEP */
